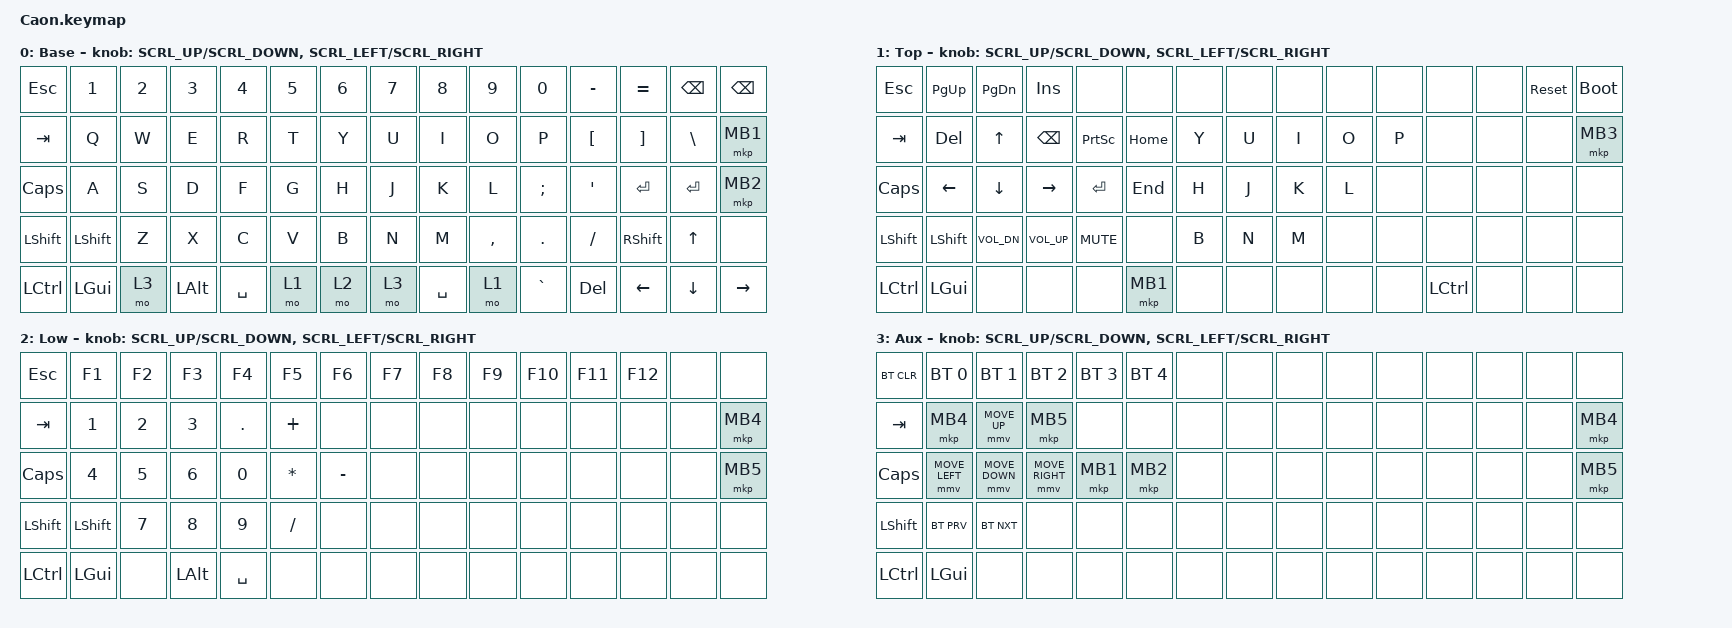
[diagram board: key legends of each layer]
#define ZMK_POINTING_DEFAULT_MOVE_VAL 6000
#define ZMK_POINTING_DEFAULT_SCRL_VAL 80

#include <dt-bindings/zmk/pointing.h>
#include <behaviors.dtsi>
#include <dt-bindings/zmk/keys.h>
#include <dt-bindings/zmk/bt.h>

#define BASE 0
#define TOP 1
#define LOWER 2
#define AUXILIARY 3

// Sensor Rotate Behavior for Encoders

/ {
    behaviors {
        mouse_scroll: sensor_scroll {
        	compatible = "zmk,behavior-sensor-rotate-var";
        	#sensor-binding-cells = <2>;
            bindings = <&msc>, <&msc>;
            tap-ms = <40>;
		};
    };

    behaviors {
        mouse_move: sensor_move {
        	compatible = "zmk,behavior-sensor-rotate-var";
        	#sensor-binding-cells = <2>;
            bindings = <&mmv>, <&mmv>;
            tap-ms = <20>;
		};
    };

    behaviors {
        cursor_moving: cursor_move {
            compatible = "zmk,behavior-input-two-axis";
            #binding-cells = <1>;
            x-input-code = <INPUT_REL_X>;
            y-input-code = <INPUT_REL_Y>;
            trigger-period-ms = <5>;
            time-to-max-speed-ms = <0>;
            acceleration-exponent = <1>;
        };
    };

// Keymap Default Layer Config

      keymap {
        compatible = "zmk,keymap";

        default_layer {
            display-name = "Base";
            bindings = <

                // ESC           1               2                3             4               5               6           7           8           9           0           -           =            BACK           BACK
                // TAB           Q               W                E             R               T               Y           U           I           O           P           [           ]            \              ENC_SW0
                // CAPS          A               S                D             F               G               H           J           K           L           ;           '           ENTER        ENTER          ENC_SW1
                // LSHFT         LSHFT           Z                X             C               V               B           N           M           ,           .           /           SHIFT        ↑              (Unused)
                // LCTRL         WIN             FN               ALT           SPC             SPC             SPC         SPC         SPC         FN          `           DEL         ←            ↓              →

                &kp ESC          &kp N1          &kp N2           &kp N3        &kp N4          &kp N5          &kp N6      &kp N7      &kp N8      &kp N9      &kp N0      &kp MINUS   &kp EQUAL    &kp BSPC       &kp BSPC
                &kp TAB          &kp Q           &kp W            &kp E         &kp R           &kp T           &kp Y       &kp U       &kp I       &kp O       &kp P       &kp LBKT    &kp RBKT     &kp BSLH       &mkp MB1
                &kp CAPS         &kp A           &kp S            &kp D         &kp F           &kp G           &kp H       &kp J       &kp K       &kp L       &kp SEMI    &kp SQT     &kp RET      &kp RET        &mkp MB2
                &kp LSHIFT       &kp LSHIFT      &kp Z            &kp X         &kp C           &kp V           &kp B       &kp N       &kp M       &kp COMMA   &kp DOT     &kp FSLH    &kp RSHFT    &kp UP         &none
                &kp LCTRL        &kp LGUI        &mo 3            &kp LALT      &kp SPACE       &mo 1           &mo 2       &mo 3       &kp SPACE   &mo 1       &kp GRAVE   &kp DEL     &kp LEFT     &kp DOWN       &kp RIGHT

            >;
            sensor-bindings = <&mouse_scroll SCRL_UP SCRL_DOWN &mouse_scroll SCRL_LEFT SCRL_RIGHT>;

        };

        top_layer {
            display-name = "Top";
            bindings = <

                // ESC           1               2               3              4               5               6           7           8           9           0           -           =            BACK           BACK
                // TAB           Q               W               E              R               T               Y           U           I           O           P           [           ]            \              ENC_SW0
                // CAPS          A               S               D              F               G               H           J           K           L           ;           '           ENTER        ENTER          ENC_SW1
                // LSHFT         LSHFT           Z               X              C               V               B           N           M           ,           .           /           SHIFT        ↑              (Unused)
                // LCTRL         WIN             FN              ALT            SPC             SPC             SPC         SPC         SPC         FN          `           DEL         ←            ↓              →

                &kp ESC          &kp PG_UP       &kp PG_DN       &kp INS        &none           &none           &none       &none       &none       &none       &none       &none       &none        &sys_reset     &bootloader
                &kp TAB          &kp DEL         &kp UP          &kp BSPC       &kp PSCRN       &kp HOME        &kp Y       &kp U       &kp I       &kp O       &kp P       &none       &none        &none          &mkp MB3
                &kp CAPS         &kp LEFT        &kp DOWN        &kp RIGHT      &kp RET         &kp END         &kp H       &kp J       &kp K       &kp L       &none       &none       &none        &none          &none
                &kp LSHIFT       &kp LSHIFT      &kp C_VOL_DN    &kp C_VOL_UP   &kp C_MUTE      &none           &kp B       &kp N       &kp M       &none       &none       &none       &none        &none          &none
                &kp LCTRL        &kp LGUI        &none           &none          &none           &mkp MB1        &none       &none       &none       &none       &none       &kp LCTRL   &none        &none          &none

            >;
            sensor-bindings = <&mouse_scroll SCRL_UP SCRL_DOWN &mouse_scroll SCRL_LEFT SCRL_RIGHT>;
        };

        lower_layer {
            display-name = "Low";
            bindings = <

                // ESC           1               2                3             4               5               6           7           8           9           0           -           =            BACK           BACK
                // TAB           Q               W                E             R               T               Y           U           I           O           P           [           ]            \              ENC_SW0
                // CAPS          A               S                D             F               G               H           J           K           L           ;           '           ENTER        ENTER          ENC_SW1
                // LSHFT         LSHFT           Z                X             C               V               B           N           M           ,           .           /           SHIFT        ↑              (Unused)
                // LCTRL         WIN             FN               ALT           SPC             SPC             SPC         SPC         SPC         FN          `           DEL         ←            ↓              →

                &kp ESC          &kp F1          &kp F2           &kp F3        &kp F4          &kp F5          &kp F6      &kp F7      &kp F8      &kp F9      &kp F10     &kp F11     &kp F12      &none          &none
                &kp TAB          &kp N1          &kp N2           &kp N3        &kp DOT         &kp PLUS        &none       &none       &none       &none       &none       &none       &none        &none          &mkp MB4
                &kp CAPS         &kp N4          &kp N5           &kp N6        &kp N0          &kp STAR        &kp MINUS   &none       &none       &none       &none       &none       &none        &none          &mkp MB5
                &kp LSHIFT       &kp LSHIFT      &kp N7           &kp N8        &kp N9          &kp FSLH        &none       &none       &none       &none       &none       &none       &none        &none          &none
                &kp LCTRL        &kp LGUI        &none            &kp LALT      &kp SPACE       &none           &none       &none       &none       &none       &none       &none       &none        &none          &none

            >;
            sensor-bindings = <&mouse_scroll SCRL_UP SCRL_DOWN &mouse_scroll SCRL_LEFT SCRL_RIGHT>;
        };

        auxiliary_layer {
            display-name = "Aux";
            bindings = <

                // ESC           1               2                3                 4               5               6           7           8           9           0           -           =            BACK           BACK
                // TAB           Q               W                E                 R               T               Y           U           I           O           P           [           ]            \              ENC_SW0
                // CAPS          A               S                D                 F               G               H           J           K           L           ;           '           ENTER        ENTER          ENC_SW1
                // LSHFT         LSHFT           Z                X                 C               V               B           N           M           ,           .           /           SHIFT        ↑              (Unused)
                // LCTRL         WIN             FN               ALT               SPC             SPC             SPC         SPC         SPC         FN          `           DEL         ←            ↓              →

                &bt BT_CLR       &bt BT_SEL 0    &bt BT_SEL 1     &bt BT_SEL 2      &bt BT_SEL 3    &bt BT_SEL 4    &none       &none       &none       &none       &none       &none       &none        &none          &none
                &kp TAB          &mkp MB4        &mmv MOVE_UP     &mkp MB5          &none           &none           &none       &none       &none       &none       &none       &none       &none        &none          &mkp MB4
                &kp CAPS         &mmv MOVE_LEFT  &mmv MOVE_DOWN   &mmv MOVE_RIGHT   &mkp MB1        &mkp MB2        &none       &none       &none       &none       &none       &none       &none        &none          &mkp MB5
                &kp LSHIFT       &bt BT_PRV      &bt BT_NXT       &none             &none           &none           &none       &none       &none       &none       &none       &none       &none        &none          &none
                &kp LCTRL        &kp LGUI        &none            &none             &none           &none           &none       &none       &none       &none       &none       &none       &none        &none          &none

            >;
            sensor-bindings = <&mouse_scroll SCRL_UP SCRL_DOWN &mouse_scroll SCRL_LEFT SCRL_RIGHT>;
        };
    };
};

